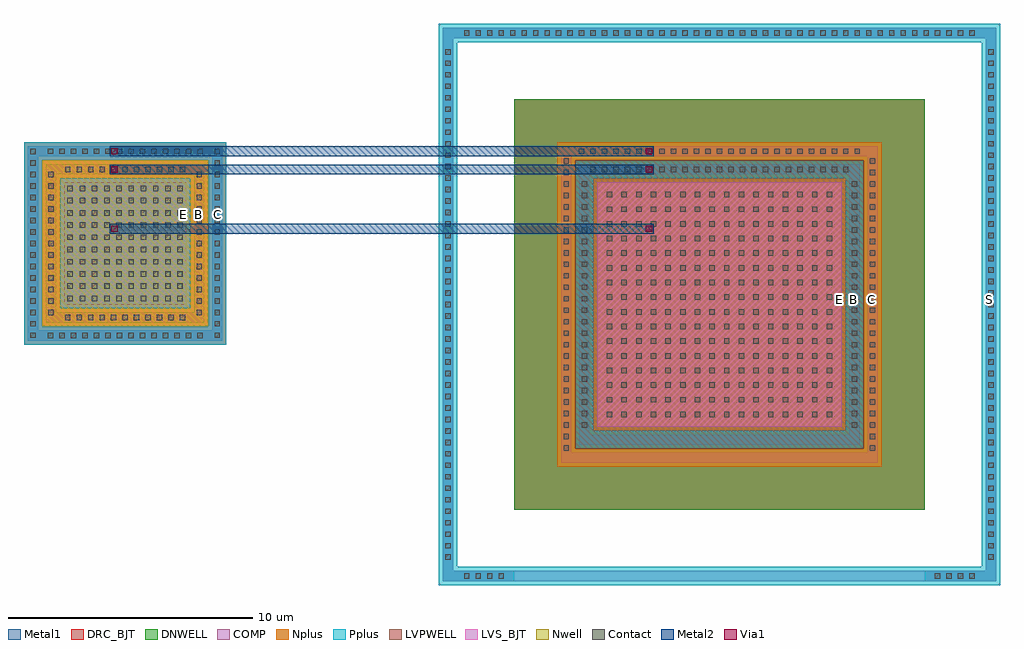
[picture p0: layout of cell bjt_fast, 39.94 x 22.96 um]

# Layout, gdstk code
import gdstk
lib = gdstk.Library(unit=1e-6, precision=5e-09)
def R(c, l, rs):  # rectangles x0, y0, x1, y1
    for r in rs: c.add(gdstk.rectangle(r[:2], r[2:], *l))
def A(c, l, x, y, w, h, nx, ny, dx, dy):  # array of equal rectangles
    R(c, l, [(x+i*dx, y+j*dy, x+i*dx+w, y+j*dy+h) for i in range(nx) for j in range(ny)])
def P(c, l, *ps):  # polygons
    for p in ps: c.add(gdstk.Polygon(p, *l))
DNWELL = (12, 0)
Nwell = (21, 0)
COMP = (22, 0)
Pplus = (31, 0)
Nplus = (32, 0)
Contact = (33, 0)
Metal1 = (34, 0)
Via1 = (35, 0)
Metal2 = (36, 0)
LVS_BJT = (118, 5)
DRC_BJT = (127, 5)
LVPWELL = (204, 0)

pnp_05p00x05p00_0 = lib.new_cell('pnp_05p00x05p00_0')
R(pnp_05p00x05p00_0, Nwell, [(-3.4,-3.4,3.4,3.4)])
R(pnp_05p00x05p00_0, COMP, [(-2.5,-2.5,2.5,2.5)])
P(pnp_05p00x05p00_0, COMP, [(-3.24,-3.24),(-3.24,3.24),(2.82,3.24),(2.82,2.82),(-2.82,2.82),(-2.82,-2.82),(2.82,-2.82),(2.82,3.24),(3.24,3.24),(3.24,-3.24)],
  [(-3.98,-3.98),(-3.98,3.98),(3.56,3.98),(3.56,3.56),(-3.56,3.56),(-3.56,-3.56),(3.56,-3.56),(3.56,3.98),(3.98,3.98),(3.98,-3.98)])
R(pnp_05p00x05p00_0, Pplus, [(-2.66,-2.66,2.66,2.66)])
P(pnp_05p00x05p00_0, Pplus, [(-4.14,-4.14),(-4.14,4.14),(3.4,4.14),(3.4,3.4),(-3.4,3.4),(-3.4,-3.4),(3.4,-3.4),(3.4,4.14),(4.14,4.14),(4.14,-4.14)])
P(pnp_05p00x05p00_0, Nplus, [(-3.4,-3.4),(-3.4,3.4),(2.66,3.4),(2.66,2.66),(-2.66,2.66),(-2.66,-2.66),(2.66,-2.66),(2.66,3.4),(3.4,3.4),(3.4,-3.4)])
A(pnp_05p00x05p00_0, Contact, -3.165, -3.88, 0.22, 0.22, 14, 2, 0.47, 7.54)
A(pnp_05p00x05p00_0, Contact, -3.88, -3.87, 0.22, 0.22, 1, 17, 0, 0.47)
A(pnp_05p00x05p00_0, Contact, 3.66, -3.87, 0.22, 0.22, 1, 17, 0, 0.47)
A(pnp_05p00x05p00_0, Contact, -2.46, -3.14, 0.22, 0.22, 11, 2, 0.47, 6.06)
A(pnp_05p00x05p00_0, Contact, -3.14, -2.93, 0.22, 0.22, 1, 13, 0, 0.47)
A(pnp_05p00x05p00_0, Contact, 2.92, -2.93, 0.22, 0.22, 1, 13, 0, 0.47)
A(pnp_05p00x05p00_0, Contact, -2.36, -2.36, 0.22, 0.22, 10, 10, 0.5, 0.5)
R(pnp_05p00x05p00_0, Metal1, [(-3.98,-3.98,3.98,-3.56), (-3.98,-3.98,-3.56,3.98), (3.56,-3.98,3.98,3.98), (-3.24,-3.24,3.24,-2.82), (-3.24,-3.24,-2.82,3.24), (2.82,-3.24,3.24,3.24), (-2.5,-2.5,2.5,2.5), (-2.5,-2.5,2.5,2.5), (-3.24,2.82,3.24,3.24), (-3.98,3.56,3.98,3.98)])
P(pnp_05p00x05p00_0, Metal1, [(-3.24,-3.24),(-3.24,3.24),(2.82,3.24),(2.82,2.82),(-2.82,2.82),(-2.82,-2.82),(2.82,-2.82),(2.82,3.24),(3.24,3.24),(3.24,-3.24)],
  [(-3.98,-3.98),(-3.98,3.98),(3.56,3.98),(3.56,3.56),(-3.56,3.56),(-3.56,-3.56),(3.56,-3.56),(3.56,3.98),(3.98,3.98),(3.98,-3.98)])
R(pnp_05p00x05p00_0, LVS_BJT, [(-2.5,-2.5,2.5,2.5)])
R(pnp_05p00x05p00_0, DRC_BJT, [(-4.14,-4.14,4.14,4.14)])
pnp_05p00x05p00_0.add(gdstk.Label('E', (0.015,-0.04), layer=34, texttype=0))
pnp_05p00x05p00_0.add(gdstk.Label('B', (-0.015,3.015), layer=34, texttype=0))
pnp_05p00x05p00_0.add(gdstk.Label('B', (3.035,-0.01), layer=34, texttype=0))
pnp_05p00x05p00_0.add(gdstk.Label('B', (-0.015,-3), layer=34, texttype=0))
pnp_05p00x05p00_0.add(gdstk.Label('B', (-2.99,-0.01), layer=34, texttype=0))
pnp_05p00x05p00_0.add(gdstk.Label('C', (0.015,-3.76), layer=34, texttype=0))
pnp_05p00x05p00_0.add(gdstk.Label('C', (3.785,0.01), layer=34, texttype=0))
pnp_05p00x05p00_0.add(gdstk.Label('C', (-0.015,3.76), layer=34, texttype=0))
pnp_05p00x05p00_0.add(gdstk.Label('C', (-3.755,-0.01), layer=34, texttype=0))

pnp_05p00x05p00 = lib.new_cell('pnp_05p00x05p00')
pnp_05p00x05p00.add(gdstk.Reference(pnp_05p00x05p00_0, (4.2,4.2)))
pnp_05p00x05p00.add(gdstk.Label('I1_default_E', (1.725,1.725), layer=34, texttype=10))
pnp_05p00x05p00.add(gdstk.Label('I1_default_C', (0.245,0.245), layer=34, texttype=10))
pnp_05p00x05p00.add(gdstk.Label('I1_default_C', (0.245,7.785), layer=34, texttype=10))
pnp_05p00x05p00.add(gdstk.Label('I1_default_C', (7.785,0.245), layer=34, texttype=10))
pnp_05p00x05p00.add(gdstk.Label('I1_default_C', (0.245,0.245), layer=34, texttype=10))
pnp_05p00x05p00.add(gdstk.Label('I1_default_B', (0.985,0.985), layer=34, texttype=10))
pnp_05p00x05p00.add(gdstk.Label('I1_default_B', (0.985,0.985), layer=34, texttype=10))
pnp_05p00x05p00.add(gdstk.Label('I1_default_B', (7.045,0.985), layer=34, texttype=10))
pnp_05p00x05p00.add(gdstk.Label('I1_default_B', (0.985,7.045), layer=34, texttype=10))

pnp_bjt_1 = lib.new_cell('pnp_bjt$1')
pnp_bjt_1.add(gdstk.Reference(pnp_05p00x05p00, (0,0)))

npn_10p00x10p00_0 = lib.new_cell('npn_10p00x10p00_0')
R(npn_10p00x10p00_0, DNWELL, [(-3.4,-3.4,13.4,13.4)])
R(npn_10p00x10p00_0, COMP, [(0,0,10,10)])
P(npn_10p00x10p00_0, COMP, [(-6.32,-6.32),(-6.32,16.32),(15.9,16.32),(15.9,15.9),(-5.9,15.9),(-5.9,-5.9),(15.9,-5.9),(15.9,16.32),(16.32,16.32),(16.32,-6.32)],
  [(-0.74,-0.74),(-0.74,10.74),(10.32,10.74),(10.32,10.32),(-0.32,10.32),(-0.32,-0.32),(10.32,-0.32),(10.32,10.74),(10.74,10.74),(10.74,-0.74)],
  [(-1.48,-1.48),(-1.48,11.48),(11.06,11.48),(11.06,11.06),(-1.06,11.06),(-1.06,-1.06),(11.06,-1.06),(11.06,11.48),(11.48,11.48),(11.48,-1.48)])
P(npn_10p00x10p00_0, Pplus, [(-6.48,-6.48),(-6.48,16.48),(15.74,16.48),(15.74,15.74),(-5.74,15.74),(-5.74,-5.74),(15.74,-5.74),(15.74,16.48),(16.48,16.48),(16.48,-6.48)],
  [(-0.9,-0.9),(-0.9,10.9),(10.16,10.9),(10.16,10.16),(-0.16,10.16),(-0.16,-0.16),(10.16,-0.16),(10.16,10.9),(10.9,10.9),(10.9,-0.9)])
R(npn_10p00x10p00_0, Nplus, [(-0.16,-0.16,10.16,10.16)])
P(npn_10p00x10p00_0, Nplus, [(-1.64,-1.64),(-1.64,11.64),(10.9,11.64),(10.9,10.9),(-0.9,10.9),(-0.9,-0.9),(10.9,-0.9),(10.9,11.64),(11.64,11.64),(11.64,-1.64)])
A(npn_10p00x10p00_0, Contact, -5.45, -6.22, 0.22, 0.22, 4, 1, 0.47, 0)
A(npn_10p00x10p00_0, Contact, 13.82, -6.22, 0.22, 0.22, 4, 1, 0.47, 0)
A(npn_10p00x10p00_0, Contact, -6.22, -5.45, 0.22, 0.22, 1, 45, 0, 0.47)
A(npn_10p00x10p00_0, Contact, 16, -5.45, 0.22, 0.22, 1, 45, 0, 0.47)
A(npn_10p00x10p00_0, Contact, -1.38, -0.985, 0.22, 0.22, 1, 26, 0, 0.47)
A(npn_10p00x10p00_0, Contact, 11.16, -0.985, 0.22, 0.22, 1, 26, 0, 0.47)
A(npn_10p00x10p00_0, Contact, -0.64, -0.045, 0.22, 0.22, 1, 22, 0, 0.47)
A(npn_10p00x10p00_0, Contact, 10.42, -0.045, 0.22, 0.22, 1, 22, 0, 0.47)
A(npn_10p00x10p00_0, Contact, 0.39, 0.39, 0.22, 0.22, 16, 16, 0.6, 0.6)
A(npn_10p00x10p00_0, Contact, -0.28, 10.42, 0.22, 0.22, 23, 1, 0.47, 0)
A(npn_10p00x10p00_0, Contact, -0.75, 11.16, 0.22, 0.22, 25, 1, 0.47, 0)
A(npn_10p00x10p00_0, Contact, -5.45, 16, 0.22, 0.22, 45, 1, 0.47, 0)
R(npn_10p00x10p00_0, Metal1, [(-6.32,-6.32,-5.9,16.32), (-6.32,-6.32,-3.4,-5.9), (13.4,-6.32,16.32,-5.9), (15.9,-6.32,16.32,16.32), (-1.48,-1.48,-1.06,11.48), (11.06,-1.48,11.48,11.48), (-0.74,-0.74,-0.32,10.74), (10.32,-0.74,10.74,10.74), (0,0,10,10), (0,0,10,10), (-0.74,10.32,10.74,10.74), (-1.48,11.06,11.48,11.48), (-6.32,15.9,16.32,16.32)])
P(npn_10p00x10p00_0, Metal1, [(-6.32,-6.32),(-6.32,16.32),(15.9,16.32),(15.9,15.9),(-5.9,15.9),(-5.9,-5.9),(-3.4,-5.9),(-3.4,-6.32)],
  [(13.4,-6.32),(13.4,-5.9),(15.9,-5.9),(15.9,16.32),(16.32,16.32),(16.32,-6.32)],
  [(-0.74,-0.74),(-0.74,10.74),(10.74,10.74),(10.74,-0.74),(10.32,-0.74),(10.32,10.32),(-0.32,10.32),(-0.32,-0.74)],
  [(-1.48,-1.48),(-1.48,11.48),(11.48,11.48),(11.48,-1.48),(11.06,-1.48),(11.06,11.06),(-1.06,11.06),(-1.06,-1.48)])
R(npn_10p00x10p00_0, LVS_BJT, [(0,0,10,10)])
R(npn_10p00x10p00_0, DRC_BJT, [(-3.4,-3.4,13.4,13.4)])
R(npn_10p00x10p00_0, LVPWELL, [(-0.9,-0.9,10.9,10.9)])
npn_10p00x10p00_0.add(gdstk.Label('E', (5.005,4.995), layer=34, texttype=0))
npn_10p00x10p00_0.add(gdstk.Label('B', (-0.515,-0.485), layer=34, texttype=0))
npn_10p00x10p00_0.add(gdstk.Label('B', (10.525,-0.495), layer=34, texttype=0))
npn_10p00x10p00_0.add(gdstk.Label('B', (10.55,10.54), layer=34, texttype=0))
npn_10p00x10p00_0.add(gdstk.Label('C', (-1.255,11.26), layer=34, texttype=0))
npn_10p00x10p00_0.add(gdstk.Label('C', (11.27,-1.235), layer=34, texttype=0))
npn_10p00x10p00_0.add(gdstk.Label('C', (11.285,11.285), layer=34, texttype=0))
npn_10p00x10p00_0.add(gdstk.Label('S', (16.105,16.105), layer=34, texttype=0))
npn_10p00x10p00_0.add(gdstk.Label('S', (16.07,-6.095), layer=34, texttype=0))
npn_10p00x10p00_0.add(gdstk.Label('S', (16.07,-6.095), layer=34, texttype=0))
npn_10p00x10p00_0.add(gdstk.Label('S', (-6.095,-6.055), layer=34, texttype=0))
npn_10p00x10p00_0.add(gdstk.Label('S', (-6.095,-6.055), layer=34, texttype=0))

npn_10p00x10p00 = lib.new_cell('npn_10p00x10p00')
npn_10p00x10p00.add(gdstk.Reference(npn_10p00x10p00_0, (6.6,6.6)))
npn_10p00x10p00.add(gdstk.Label('I1_default_E', (6.625,6.625), layer=34, texttype=10))
npn_10p00x10p00.add(gdstk.Label('I1_default_S', (0.305,22.525), layer=34, texttype=10))
npn_10p00x10p00.add(gdstk.Label('I1_default_S', (22.525,0.305), layer=34, texttype=10))
npn_10p00x10p00.add(gdstk.Label('I1_default_S', (20.025,0.305), layer=34, texttype=10))
npn_10p00x10p00.add(gdstk.Label('I1_default_S', (0.305,0.305), layer=34, texttype=10))
npn_10p00x10p00.add(gdstk.Label('I1_default_S', (0.305,0.305), layer=34, texttype=10))
npn_10p00x10p00.add(gdstk.Label('I1_default_C', (5.145,5.145), layer=34, texttype=10))
npn_10p00x10p00.add(gdstk.Label('I1_default_C', (17.685,5.145), layer=34, texttype=10))
npn_10p00x10p00.add(gdstk.Label('I1_default_C', (5.145,17.685), layer=34, texttype=10))
npn_10p00x10p00.add(gdstk.Label('I1_default_B', (5.885,5.885), layer=34, texttype=10))
npn_10p00x10p00.add(gdstk.Label('I1_default_B', (16.945,5.885), layer=34, texttype=10))
npn_10p00x10p00.add(gdstk.Label('I1_default_B', (5.885,16.945), layer=34, texttype=10))

npn_bjt = lib.new_cell('npn_bjt')
npn_bjt.add(gdstk.Reference(npn_10p00x10p00, (0,0)))

via_dev = lib.new_cell('via_dev')
R(via_dev, Metal1, [(0,0,0.4,0.4)])
R(via_dev, Via1, [(0.07,0.07,0.33,0.33)])
R(via_dev, Metal2, [(0,0,0.4,0.4)])

bjt_fast = lib.new_cell('bjt_fast')
R(bjt_fast, Metal1, [(32.21,1.495,32.23,1.515), (32.765,1.495,32.785,1.515), (33.515,1.495,33.535,1.515), (38.345,1.495,38.365,1.515), (5.345,4.99,5.365,5.01), (5.99,4.99,6.01,5.01), (6.735,4.99,6.755,5.01)])
R(bjt_fast, Metal2, [(2.75,4.22,24.22,4.62), (2.75,6.64,24.22,7.04), (2.75,7.39,24.22,7.79)])
bjt_fast.add(gdstk.Reference(pnp_bjt_1, (-1.22,-0.38)))
bjt_fast.add(gdstk.Reference(npn_bjt, (15.7,-10.28)))
bjt_fast.add(gdstk.Reference(via_dev, (2.35,7.39)))
bjt_fast.add(gdstk.Reference(via_dev, (24.22,7.39)))
bjt_fast.add(gdstk.Reference(via_dev, (2.35,6.64)))
bjt_fast.add(gdstk.Reference(via_dev, (24.22,6.64)))
bjt_fast.add(gdstk.Reference(via_dev, (2.35,4.22)))
bjt_fast.add(gdstk.Reference(via_dev, (24.22,4.22)))
bjt_fast.add(gdstk.Label('E', (32.22,1.505), layer=34, texttype=10))
bjt_fast.add(gdstk.Label('B', (32.775,1.505), layer=34, texttype=10))
bjt_fast.add(gdstk.Label('C', (33.525,1.505), layer=34, texttype=10))
bjt_fast.add(gdstk.Label('S', (38.355,1.505), layer=34, texttype=10))
bjt_fast.add(gdstk.Label('B', (6,5), layer=34, texttype=10))
bjt_fast.add(gdstk.Label('E', (5.355,5), layer=34, texttype=10))
bjt_fast.add(gdstk.Label('C', (6.745,5), layer=34, texttype=10))

lib.write_gds('bjt_fast.gds')
